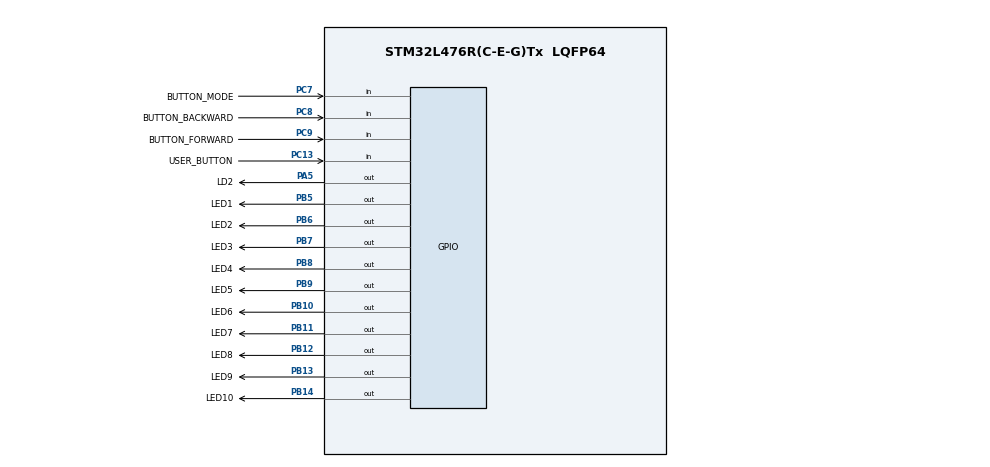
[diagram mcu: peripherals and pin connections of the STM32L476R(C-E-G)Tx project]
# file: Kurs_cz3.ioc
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Mcu.Family=STM32L4
RCC.MSI_VALUE=4000000
PB9.GPIO_Label=LED5
PC9.GPIO_Label=BUTTON_FORWARD
PC13.Signal=GPIO_Input
PB14.GPIO_Label=LED10
PC8.Signal=GPIO_Input
PB11.GPIO_Label=LED7
PB6.GPIO_Label=LED2
PC13.GPIO_Label=USER_BUTTON
VP_RNG_VS_RNG.Mode=RNG_Activate
PB13.GPIO_Label=LED9
PB11.Signal=GPIO_Output
PB13.Signal=GPIO_Output
ProjectManager.StackSize=0x400
PC8.GPIO_Label=BUTTON_BACKWARD
PB8.GPIO_Label=LED4
ProjectManager.TargetToolchain=STM32CubeIDE
PB10.GPIO_Label=LED6
PB6.Signal=GPIO_Output
PC7.Signal=GPIO_Input
RCC.USBFreq_Value=32000000
PC7.GPIO_PuPd=GPIO_PULLUP
RCC.LSE_VALUE=32768
PB10.Signal=GPIO_Output
PB14.Signal=GPIO_Output
PA5.Signal=GPIO_Output
RCC.HSE_VALUE=8000000
board=custom
RCC.VCOOutputFreq_Value=32000000
PB12.GPIO_Label=LED8
RCC.ADCFreq_Value=32000000
PC13.GPIO_PuPd=GPIO_PULLUP
PC9.GPIO_PuPd=GPIO_PULLUP
PB7.Signal=GPIO_Output
Mcu.Name=STM32L476R(C-E-G)Tx
PC7.GPIO_Label=BUTTON_MODE
PB7.GPIO_Label=LED3
PC8.GPIO_PuPd=GPIO_PULLUP
Mcu.Package=LQFP64
PB5.Signal=GPIO_Output
PB9.Signal=GPIO_Output
PA5.GPIO_Label=LD2
ProjectManager.HeapSize=0x200
RCC.HSI_VALUE=16000000
NVIC.PriorityGroup=NVIC_PRIORITYGROUP_4
PB5.GPIO_Label=LED1
PB8.Signal=GPIO_Output
PC9.Signal=GPIO_Input
PB12.Signal=GPIO_Output
RCC.PLLSAI1N=16

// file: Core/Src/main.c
/* USER CODE BEGIN Header */
/**
 ******************************************************************************
 * @file           : main.c
 * @brief          : Main program body
 ******************************************************************************
 * @attention
 *
 * <h2><center>&copy; Copyright (c) 2021 STMicroelectronics.
 * All rights reserved.</center></h2>
 *
 * This software component is licensed by ST under BSD 3-Clause license,
 * the "License"; You may not use this file except in compliance with the
 * License. You may obtain a copy of the License at:
 *                        opensource.org/licenses/BSD-3-Clause
 *
 ******************************************************************************
 */
/* USER CODE END Header */
#include "main.h"

/* USER CODE BEGIN Includes */

#include <stdbool.h>

/* USER CODE END Includes */

/* USER CODE BEGIN PTD */

typedef enum {
	BACKWARD = -1,
	FORWARD = 1
} direction_t;

typedef enum {
	MODE_MANUAL,
	MODE_ANIMATED
} mode_t;

typedef enum {
	TRANSITION_SIMPLE,
	TRANSITION_BOUNCE,
	TRANSITION_TOGGLE_SIMPLE,
	TRANSITION_TOGGLE_BOUNCE,
	TRANSITION_TWOCOLORS,
	TRANSITION_CROSSROADS,
	TRANSITION_NOISE,
	TRANSITION_RAINDROPS,
	TRANSITIONS_COUNT
} transition_t;

typedef void (*button_event_t)();
typedef void (*transition_handler_t)();

typedef struct {
	GPIO_TypeDef *port;
	uint16_t pin;
} pin_t;

typedef struct {
	GPIO_PinState lastState;
	pin_t buttonPin;
	button_event_t onRelease;
	button_event_t onLongpress;
	uint32_t bounceStartTimeMillis;
	uint32_t longpressTimeMillis;
} button_t;

/* USER CODE END PTD */

/* USER CODE BEGIN PD */

#define BOUNCE_TIME_MILLIS 50
#define LONGPRESS_TIME_MILLIS 500

#define TRANSITION_INITIAL_LEVEL 8
#define TRANSITION_INTERVAL_BASE 2

/* USER CODE END PD */

/* USER CODE BEGIN PM */

#define ARRLEN(x) (sizeof(x)/sizeof(x)[0])

/* USER CODE END PM */

RNG_HandleTypeDef hrng;

/* USER CODE BEGIN PV */

static int led = 0;

static mode_t mode = MODE_MANUAL;
static transition_t transition = TRANSITION_SIMPLE;
static direction_t direction = FORWARD;

static int intervalLevel = TRANSITION_INITIAL_LEVEL;
static uint32_t interval = 128;
static uint32_t transitionTimer = 0;

static uint32_t randResult = 0;

static int rainAnimationStage;

static const pin_t LED[] = {
		{ LED1_GPIO_Port, LED1_Pin },
		{ LED2_GPIO_Port, LED2_Pin },
		{ LED3_GPIO_Port, LED3_Pin },
		{ LED4_GPIO_Port, LED4_Pin },
		{ LED5_GPIO_Port, LED5_Pin },
		{ LED6_GPIO_Port, LED6_Pin },
		{ LED7_GPIO_Port, LED7_Pin },
		{ LED8_GPIO_Port, LED8_Pin },
		{ LED9_GPIO_Port, LED9_Pin },
		{ LED10_GPIO_Port, LED10_Pin },
};
static const int LEDS_COUNT = ARRLEN(LED);

/* USER CODE END PV */

void SystemClock_Config(void);
static void MX_GPIO_Init(void);
static void MX_RNG_Init(void);

/* USER CODE BEGIN 0 */

void led_set(int led, bool turn_on) {
	GPIO_PinState state = (turn_on) ? GPIO_PIN_SET : GPIO_PIN_RESET;

	if (led >= 0 && led < LEDS_COUNT)
		HAL_GPIO_WritePin(LED[led].port, LED[led].pin, state);
}

void led_toggle(int led) {
	if (led >= 0 && led < LEDS_COUNT)
		HAL_GPIO_TogglePin(LED[led].port, LED[led].pin);
//	HAL_GPIO_TogglePin(LD2_GPIO_Port, LD2_Pin);
//	HAL_Delay(123);

}

void leds_clear(){
	for(int i = 0; i < LEDS_COUNT; ++i)
		led_set(i, false);
}

uint32_t powint(uint32_t base, int power){
	uint32_t result = 1;
	for (int i = 0; i < power; ++i)
		result *= base;
	return result;
}

direction_t opposite(direction_t dir){
	return -dir;
}

int randLED() {
	HAL_RNG_GenerateRandomNumber(&hrng, &randResult);
	return randResult % LEDS_COUNT;
}

/* ANIMATIONS-TRANSITIONS HANDLERS -------------------------------------------*/
void doNothing(){

}

void simpleTransitionAnimation(){
	led_set(led, false);

	led += direction;
	if(direction == BACKWARD && led < 0)
		led += LEDS_COUNT;
	else if(direction == FORWARD && led >= LEDS_COUNT)
		led -= LEDS_COUNT;

	led_set(led, true);
}

void bounceAnimation(){
	led_set(led, false);

	led += direction;
	if(direction == BACKWARD && led < 0){
		led = -led;
		direction = FORWARD;
	}
	else if(direction == FORWARD && led >= LEDS_COUNT){
		led = led - LEDS_COUNT + 1;
		led = LEDS_COUNT - led - 1;
		direction = BACKWARD;
	}

	led_set(led, true);
}

void toggleSimpleAnimation(){
	led_toggle(led);

	led += direction;
	if(direction == BACKWARD && led < 0)
		led += LEDS_COUNT;
	else if(direction == FORWARD && led >= LEDS_COUNT)
		led -= LEDS_COUNT;

	bool aa = true;

}

void bounceToggleAnimation(){
	led_toggle(led);

	led += direction;
	if(direction == BACKWARD && led < 0){
		led = -led-1;
		direction = FORWARD;
	}
	else if(direction == FORWARD && led >= LEDS_COUNT){
		led = led - LEDS_COUNT + 1;
		led = LEDS_COUNT - led ;
		direction = BACKWARD;
	}
}

void twocolorsAnimation(){
	for (int i = 0; i < LEDS_COUNT/2; ++i)
		led_set(i*2+led, false);

	led ^= 1;

	for (int i = 0; i < LEDS_COUNT/2; ++i)
		led_set(i*2+led, true);
}

void crossroadsAnimation(){
	led_set(led, false);
	led_set(LEDS_COUNT - led - 1, false);

	led += direction;
	if(direction == BACKWARD && led < 0)
		led += LEDS_COUNT;
	else if(direction == FORWARD && led >= LEDS_COUNT)
		led -= LEDS_COUNT;

	led_set(led, true);
	led_set(LEDS_COUNT - led - 1, true);
}

void noiseAnimation(){
	led_set(led, false);

	led = randLED();

	led_set(led, true);
}

void raindropsAnimation() {
	if(rainAnimationStage == 0) {
		led = randLED();
		led_set(led, true);
	} else if(rainAnimationStage == 1) {
		led_set(led - 1, true);
		led_set(led + 1, true);
	} else if(rainAnimationStage == 2) {
		led_set(led, false);
		led_set(led - 2, true);
		led_set(led + 2, true);
	} else if(rainAnimationStage == 3) {
		led_set(led - 1, false);
		led_set(led + 1, false);
	} else if(rainAnimationStage == 4) {
		led_set(led - 2, false);
		led_set(led + 2, false);
	}

	if(++rainAnimationStage > 4)
		rainAnimationStage = 0;
}

static const transition_handler_t animations[TRANSITIONS_COUNT] = {simpleTransitionAnimation, bounceAnimation, toggleSimpleAnimation, bounceToggleAnimation, twocolorsAnimation, crossroadsAnimation, noiseAnimation, raindropsAnimation};

void animate(bool force) {
	if(force || ((mode == MODE_ANIMATED) && (HAL_GetTick() - transitionTimer > interval))) {
		//execute selected transition
		animations[transition]();

		if(!force)
			transitionTimer += interval;
	}
}

/* BUTTONS EVENTS HANDLERS -------------------------------------------*/
void pressForward() {
	if(mode == MODE_MANUAL){
		direction = FORWARD;
		animate(true);
	}
	else {
		if(--intervalLevel < 1)
			intervalLevel = 1;
		interval = powint(TRANSITION_INTERVAL_BASE, intervalLevel);
	}
}

void pressBackward() {
	if(mode == MODE_MANUAL){
		direction = BACKWARD;
		animate(true);
	}
	else{
		++intervalLevel;
		interval = powint(TRANSITION_INTERVAL_BASE, intervalLevel);
	}
}

void longpressBackward() {
	direction = BACKWARD;
}

void longpressForward() {
	direction = FORWARD;
}

void changeMode() {
	if(mode == MODE_MANUAL) {
		transitionTimer = HAL_GetTick();
		mode = MODE_ANIMATED;
	}
	else
		mode = MODE_MANUAL;
	return;
}

void changeTransition() {
	if(mode != MODE_MANUAL){
		transitionTimer = HAL_GetTick();
		leds_clear();
		led = 0;
		direction = FORWARD;
	}

	if(++transition >= TRANSITIONS_COUNT)
		transition = TRANSITION_SIMPLE;
}

static button_t buttons[] = {
		{ GPIO_PIN_RESET, { BUTTON_BACKWARD_GPIO_Port, BUTTON_BACKWARD_Pin }, pressBackward, longpressBackward, 0, 0 },
		{ GPIO_PIN_RESET, { BUTTON_FORWARD_GPIO_Port, BUTTON_FORWARD_Pin }, pressForward, longpressForward, 0, 0 },
		{ GPIO_PIN_RESET, { BUTTON_MODE_GPIO_Port, BUTTON_MODE_Pin }, changeTransition, changeMode, 0, 0 }
};
static const int BUTTONS_COUNT = ARRLEN(buttons);

void checkAllButtonsEvents() {
	uint32_t millis = HAL_GetTick();

	for (int i = 0; i < BUTTONS_COUNT; ++i) {
		button_t *button = &buttons[i];

		if (millis - button->bounceStartTimeMillis > BOUNCE_TIME_MILLIS) {
			GPIO_TypeDef *port = button->buttonPin.port;
			int pin = button->buttonPin.pin;
			GPIO_PinState currentState = HAL_GPIO_ReadPin(port, pin);

			if (button->lastState == GPIO_PIN_RESET	&& currentState == GPIO_PIN_SET) {
				//on release event
				if (button->longpressTimeMillis > 0){
					button->bounceStartTimeMillis = millis;
					button->onRelease();
				}
			} else if (button->lastState == GPIO_PIN_SET && currentState == GPIO_PIN_RESET) {
				//on press event -> on longpress event
				button->longpressTimeMillis = millis;
			} else if (currentState == GPIO_PIN_RESET) {
				if (button->longpressTimeMillis > 0) {
					if(millis - button->longpressTimeMillis > LONGPRESS_TIME_MILLIS){
						button->longpressTimeMillis = 0;
						button->onLongpress();
					}
				}
			}

			button->lastState = currentState;
		}
	}
}
/* USER CODE END 0 */

int main(void)
{

  /* MCU Configuration--------------------------------------------------------*/

  /* Reset of all peripherals, Initializes the Flash interface and the Systick. */
  HAL_Init();

  /* Configure the system clock */
  SystemClock_Config();

  /* Initialize all configured peripherals */
  MX_GPIO_Init();
  MX_RNG_Init();

  /* Infinite loop */
  /* USER CODE BEGIN WHILE */

	led_set(led, true);
	while (1) {
//		checkAllButtonsEvents();
//		animate(false);

		  HAL_GPIO_WritePin(LED4_GPIO_Port, LED4_Pin, GPIO_PIN_SET);
		  HAL_Delay(200);
		  // Wyłączamy diodę na 800ms
		  HAL_GPIO_WritePin(LED4_GPIO_Port, LED4_Pin, GPIO_PIN_RESET);
		  HAL_Delay(800);

    /* USER CODE END WHILE */

	}
}

void SystemClock_Config(void)
{
  RCC_OscInitTypeDef RCC_OscInitStruct = {0};
  RCC_ClkInitTypeDef RCC_ClkInitStruct = {0};
  RCC_PeriphCLKInitTypeDef PeriphClkInit = {0};

  /** Initializes the RCC Oscillators according to the specified parameters
  * in the RCC_OscInitTypeDef structure.
  */
  RCC_OscInitStruct.OscillatorType = RCC_OSCILLATORTYPE_MSI;
  RCC_OscInitStruct.MSIState = RCC_MSI_ON;
  RCC_OscInitStruct.MSICalibrationValue = 0;
  RCC_OscInitStruct.MSIClockRange = RCC_MSIRANGE_6;
  RCC_OscInitStruct.PLL.PLLState = RCC_PLL_NONE;
  if (HAL_RCC_OscConfig(&RCC_OscInitStruct) != HAL_OK)
  {
    Error_Handler();
  }
  /** Initializes the CPU, AHB and APB buses clocks
  */
  RCC_ClkInitStruct.ClockType = RCC_CLOCKTYPE_HCLK|RCC_CLOCKTYPE_SYSCLK
                              |RCC_CLOCKTYPE_PCLK1|RCC_CLOCKTYPE_PCLK2;
  RCC_ClkInitStruct.SYSCLKSource = RCC_SYSCLKSOURCE_MSI;
  RCC_ClkInitStruct.AHBCLKDivider = RCC_SYSCLK_DIV1;
  RCC_ClkInitStruct.APB1CLKDivider = RCC_HCLK_DIV1;
  RCC_ClkInitStruct.APB2CLKDivider = RCC_HCLK_DIV1;

  if (HAL_RCC_ClockConfig(&RCC_ClkInitStruct, FLASH_LATENCY_0) != HAL_OK)
  {
    Error_Handler();
  }
  PeriphClkInit.PeriphClockSelection = RCC_PERIPHCLK_RNG;
  PeriphClkInit.RngClockSelection = RCC_RNGCLKSOURCE_PLLSAI1;
  PeriphClkInit.PLLSAI1.PLLSAI1Source = RCC_PLLSOURCE_MSI;
  PeriphClkInit.PLLSAI1.PLLSAI1M = 1;
  PeriphClkInit.PLLSAI1.PLLSAI1N = 16;
  PeriphClkInit.PLLSAI1.PLLSAI1P = RCC_PLLP_DIV7;
  PeriphClkInit.PLLSAI1.PLLSAI1Q = RCC_PLLQ_DIV2;
  PeriphClkInit.PLLSAI1.PLLSAI1R = RCC_PLLR_DIV2;
  PeriphClkInit.PLLSAI1.PLLSAI1ClockOut = RCC_PLLSAI1_48M2CLK;
  if (HAL_RCCEx_PeriphCLKConfig(&PeriphClkInit) != HAL_OK)
  {
    Error_Handler();
  }
  /** Configure the main internal regulator output voltage
  */
  if (HAL_PWREx_ControlVoltageScaling(PWR_REGULATOR_VOLTAGE_SCALE1) != HAL_OK)
  {
    Error_Handler();
  }
}

static void MX_RNG_Init(void)
{

  hrng.Instance = RNG;
  if (HAL_RNG_Init(&hrng) != HAL_OK)
  {
    Error_Handler();
  }

}

static void MX_GPIO_Init(void)
{
  GPIO_InitTypeDef GPIO_InitStruct = {0};

  /* GPIO Ports Clock Enable */
  __HAL_RCC_GPIOC_CLK_ENABLE();
  __HAL_RCC_GPIOA_CLK_ENABLE();
  __HAL_RCC_GPIOB_CLK_ENABLE();

  /*Configure GPIO pin Output Level */
  HAL_GPIO_WritePin(LD2_GPIO_Port, LD2_Pin, GPIO_PIN_RESET);

  /*Configure GPIO pin Output Level */
  HAL_GPIO_WritePin(GPIOB, LED6_Pin|LED7_Pin|LED8_Pin|LED9_Pin
                          |LED10_Pin|LED1_Pin|LED2_Pin|LED3_Pin
                          |LED4_Pin|LED5_Pin, GPIO_PIN_RESET);

  /*Configure GPIO pins : USER_BUTTON_Pin BUTTON_MODE_Pin BUTTON_BACKWARD_Pin BUTTON_FORWARD_Pin */
  GPIO_InitStruct.Pin = USER_BUTTON_Pin|BUTTON_MODE_Pin|BUTTON_BACKWARD_Pin|BUTTON_FORWARD_Pin;
  GPIO_InitStruct.Mode = GPIO_MODE_INPUT;
  GPIO_InitStruct.Pull = GPIO_PULLUP;
  HAL_GPIO_Init(GPIOC, &GPIO_InitStruct);

  /*Configure GPIO pin : LD2_Pin */
  GPIO_InitStruct.Pin = LD2_Pin;
  GPIO_InitStruct.Mode = GPIO_MODE_OUTPUT_PP;
  GPIO_InitStruct.Pull = GPIO_NOPULL;
  GPIO_InitStruct.Speed = GPIO_SPEED_FREQ_LOW;
  HAL_GPIO_Init(LD2_GPIO_Port, &GPIO_InitStruct);

  /*Configure GPIO pins : LED6_Pin LED7_Pin LED8_Pin LED9_Pin
                           LED10_Pin LED1_Pin LED2_Pin LED3_Pin
                           LED4_Pin LED5_Pin */
  GPIO_InitStruct.Pin = LED6_Pin|LED7_Pin|LED8_Pin|LED9_Pin
                          |LED10_Pin|LED1_Pin|LED2_Pin|LED3_Pin
                          |LED4_Pin|LED5_Pin;
  GPIO_InitStruct.Mode = GPIO_MODE_OUTPUT_PP;
  GPIO_InitStruct.Pull = GPIO_NOPULL;
  GPIO_InitStruct.Speed = GPIO_SPEED_FREQ_LOW;
  HAL_GPIO_Init(GPIOB, &GPIO_InitStruct);

}

void Error_Handler(void)
{
	__disable_irq();
	while (1) {
	}
}

/************************ (C) COPYRIGHT STMicroelectronics *****END OF FILE****/
